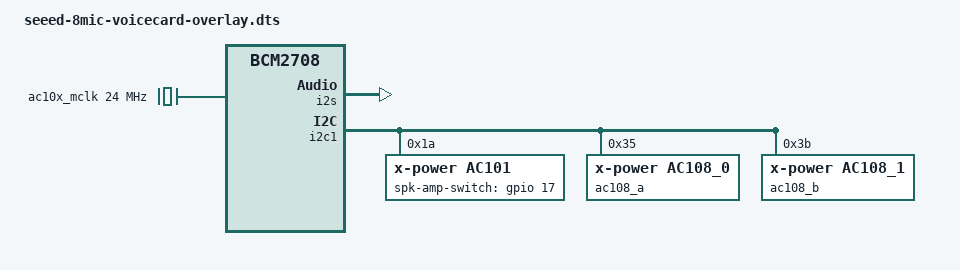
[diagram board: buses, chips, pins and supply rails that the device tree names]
/dts-v1/;
/plugin/;

/ {
	compatible = "brcm,bcm2708";

	fragment@0 {
		target = <&i2s>;
		__overlay__ {
			#sound-dai-cells = <0>;
			status = "okay";
		};
	};

	fragment@1 {
		target-path = "/clocks";
		__overlay__ {
			ac10x_mclk: codec-mclk {
				compatible = "fixed-clock";
				#clock-cells = <0>;
				clock-frequency = <24000000>;
			};  
		};
	};

	fragment@2 {
		target = <&gpio>;
		__overlay__ {
			spk_amp_switch_pins: speaker_amp_switch_pins {
				brcm,pins = <17>;
				brcm,function = <1>; /* out */
			};
			gpclk0_pins: gpclk0_pins {
				brcm,pins = <4>;
				brcm,function = <4>; /* alt func 0 */
			};
		};
	};

	fragment@3 {
		target = <&i2c1>;
		__overlay__ {
			#address-cells = <1>;
			#size-cells = <0>;
			status = "okay";

			ac101: ac101@1a{
				compatible = "x-power,ac101";
				pinctrl-names = "default";
				pinctrl-0 = <&spk_amp_switch_pins>,<&gpclk0_pins>;
				spk-amp-switch-gpios = <&gpio 17 0>;
				reg = <0x1a>;
				#sound-dai-cells = <0>;
			};

			ac108_a: ac108@35{
				compatible = "x-power,ac108_0";
				reg = <0x35>;
				#sound-dai-cells = <0>;
				data-protocol = <0>;
				tdm-chips-count = <2>;
			};

			ac108_b: ac108@3b{
				compatible = "x-power,ac108_1";
				reg = <0x3b>;
				#sound-dai-cells = <0>;
				data-protocol = <0>;
				tdm-chips-count = <2>;
			};
		};
	};

	fragment@4 {
		target = <&sound>;

		sound_overlay: __overlay__ {
			compatible = "simple-audio-card";
			simple-audio-card,name = "seeed-8mic-voicecard"; 
			simple-audio-card,channels-playback-override = <8>;
			simple-audio-card,channels-capture-override  = <8>;
			status = "okay";

			simple-audio-card,dai-link@0 {
				format = "dsp_a";
				/* below is dummy master, real clock master is ac101 */
				bitclock-master = <&codec0_dai>;
				frame-master = <&codec0_dai>;
				/* bitclock-inversion; */
				/* frame-inversion; */

				cpu {
					sound-dai = <&i2s>;
					dai-tdm-slot-num     = <2>;
					dai-tdm-slot-width   = <32>;
					dai-tdm-slot-tx-mask = <1 1 0 0>;
					dai-tdm-slot-rx-mask = <1 1 0 0>;
				};

				codec0_dai: codec {
					sound-dai = <&ac108_a>;
					clocks =  <&ac10x_mclk>;
					system-clock-id = <1>;
				};
			};
		};
	};

	__overrides__ {
		card-name = <&sound_overlay>,"seeed-voicecard,name";
	};
};

